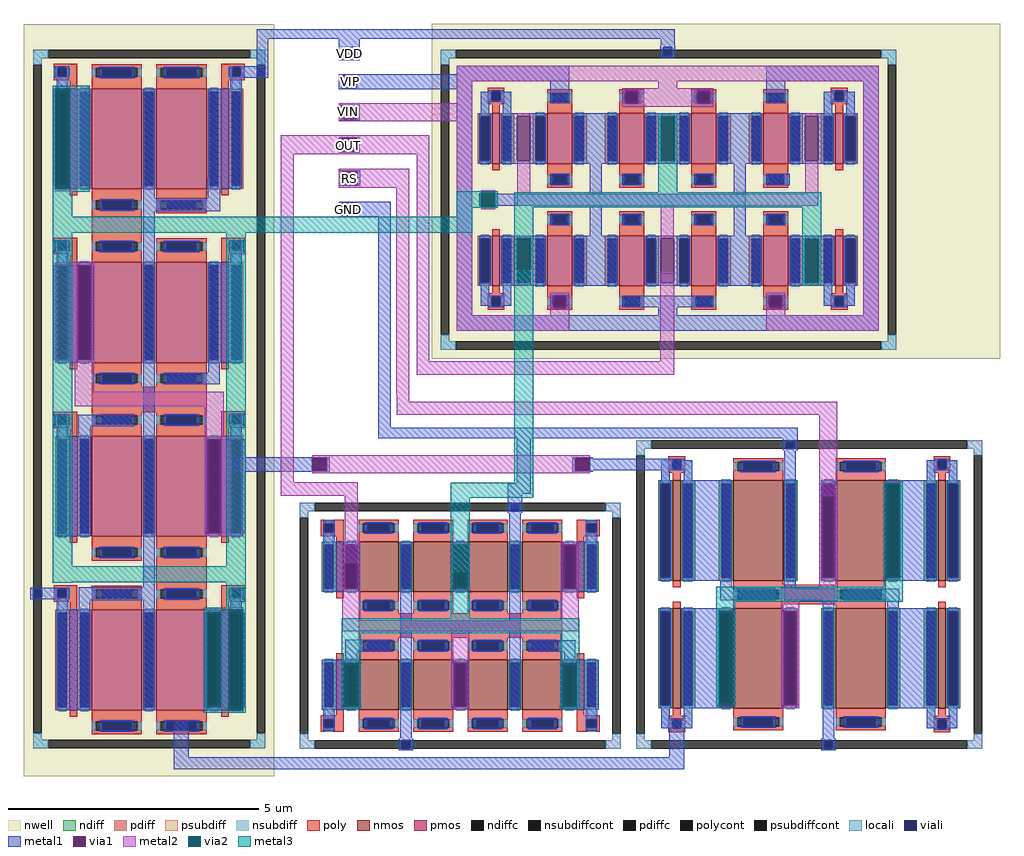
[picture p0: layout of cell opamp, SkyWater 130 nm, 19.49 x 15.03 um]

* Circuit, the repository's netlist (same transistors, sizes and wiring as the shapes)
** sch_path: /home/azrielshelomita/opamp/mag/opamp.sch
.subckt opamp VIN VIP RS OUT GND VDD
*.PININFO VIN:B VIP:B RS:B OUT:B GND:B VDD:B
x1 net2 net3 GND RS nmoscs
x2 net4 OUT GND nmosgn
x3 VDD net1 net3 net2 pmoscs
x4 VDD net1 VIN VIP net4 OUT pmosgn
.ends

* expanding   symbol:  nmoscs.sym # of pins=4
** sym_path: /home/azrielshelomita/opamp/mag/nmoscs.sym
** sch_path: /home/azrielshelomita/opamp/mag/nmoscs.sch
.subckt nmoscs D1 D2 GND RS
*.PININFO GND:B RS:B D2:B D1:B
XM3 D1 D1 GND GND sky130_fd_pr__nfet_01v8 L=1 W=2 nf=1 m=2
XM4 D2 D1 RS GND sky130_fd_pr__nfet_01v8 L=1 W=2 nf=1 m=2
XM1 D1 D1 D1 GND sky130_fd_pr__nfet_01v8 L=0.15 W=2 nf=1 m=2
XM2 D2 D2 D2 GND sky130_fd_pr__nfet_01v8 L=0.15 W=2 nf=1 m=2
.ends


* expanding   symbol:  nmosgn.sym # of pins=3
** sym_path: /home/azrielshelomita/opamp/mag/nmosgn.sym
** sch_path: /home/azrielshelomita/opamp/mag/nmosgn.sch
.subckt nmosgn D6 OUT GND
*.PININFO GND:B D6:B OUT:O
XM8 D6 D6 GND GND sky130_fd_pr__nfet_01v8 L=0.8 W=1 nf=1 m=4
XM9 OUT D6 GND GND sky130_fd_pr__nfet_01v8 L=0.8 W=1 nf=1 m=4
XM1 D6 D6 D6 GND sky130_fd_pr__nfet_01v8 L=0.15 W=1 nf=1 m=2
XM2 OUT OUT OUT GND sky130_fd_pr__nfet_01v8 L=0.15 W=1 nf=1 m=2
.ends


* expanding   symbol:  pmoscs.sym # of pins=4
** sym_path: /home/azrielshelomita/opamp/mag/pmoscs.sym
** sch_path: /home/azrielshelomita/opamp/mag/pmoscs.sch
.subckt pmoscs VDD D5 D2 D1
*.PININFO D1:B D2:B D5:B VDD:B
XM1 D1 D2 VDD VDD sky130_fd_pr__pfet_01v8 L=1 W=2 nf=1 m=2
XM2 D2 D2 VDD VDD sky130_fd_pr__pfet_01v8 L=1 W=2 nf=1 m=2
XM5 D5 D2 VDD VDD sky130_fd_pr__pfet_01v8 L=1 W=2 nf=1 m=2
XM3 VDD VDD VDD VDD sky130_fd_pr__pfet_01v8 L=1 W=2 nf=1 m=2
XM4 VDD VDD VDD VDD sky130_fd_pr__pfet_01v8 L=0.15 W=2 nf=1 m=2
XM6 D2 D2 D2 VDD sky130_fd_pr__pfet_01v8 L=0.15 W=2 nf=1 m=2
XM7 D1 D1 D1 VDD sky130_fd_pr__pfet_01v8 L=0.15 W=2 nf=1 m=2
XM8 D5 D5 D5 VDD sky130_fd_pr__pfet_01v8 L=0.15 W=2 nf=1 m=2
.ends


* expanding   symbol:  pmosgn.sym # of pins=6
** sym_path: /home/azrielshelomita/opamp/mag/pmosgn.sym
** sch_path: /home/azrielshelomita/opamp/mag/pmosgn.sch
.subckt pmosgn VDD D5 VIN VIP D6 OUT
*.PININFO VIN:I VIP:I OUT:O VDD:B D5:B D6:B
XM6 D6 VIN D5 VDD sky130_fd_pr__pfet_01v8 L=0.5 W=1 nf=1 m=4
XM7 OUT VIP D5 VDD sky130_fd_pr__pfet_01v8 L=0.5 W=1 nf=1 m=4
XM1 D6 D6 D6 VDD sky130_fd_pr__pfet_01v8 L=0.15 W=1 nf=1 m=2
XM2 OUT OUT OUT VDD sky130_fd_pr__pfet_01v8 L=0.15 W=1 nf=1 m=2
.ends

.end

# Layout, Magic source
magic
tech sky130A
magscale 1 2
<< nwell >>
rect -1962 -506 -962 2498
rect -334 1162 1936 2499
<< viali >>
rect -692 2359 -634 2405
rect 592 2371 626 2405
rect -693 2243 -634 2291
rect -693 2120 -634 2169
rect -693 1990 -633 2040
rect -692 1858 -632 1908
rect -693 1735 -634 1783
rect -810 716 -752 762
rect 239 716 297 762
<< metal1 >>
rect -1032 2439 637 2477
rect -1032 2283 -986 2439
rect -704 2405 -622 2439
rect 582 2411 637 2439
rect -704 2359 -692 2405
rect -634 2359 -622 2405
rect 580 2405 638 2411
rect 580 2371 592 2405
rect 626 2371 638 2405
rect 580 2365 638 2371
rect -704 2353 -622 2359
rect -705 2291 -197 2297
rect -705 2243 -693 2291
rect -634 2243 -197 2291
rect -705 2237 -197 2243
rect -705 2171 -622 2175
rect -705 2119 -693 2171
rect -634 2119 -622 2171
rect -705 2114 -622 2119
rect -705 2043 -621 2046
rect -705 1987 -694 2043
rect -633 1987 -621 2043
rect -705 1984 -621 1987
rect -704 1911 -620 1914
rect -704 1855 -692 1911
rect -632 1855 -620 1911
rect -704 1852 -620 1855
rect -705 1783 -497 1789
rect -705 1735 -693 1783
rect -634 1735 -497 1783
rect -144 1771 -134 1823
rect -82 1820 -72 1823
rect -82 1773 345 1820
rect -82 1771 -72 1773
rect -705 1729 -497 1735
rect -547 1374 -497 1729
rect -548 885 -497 1374
rect -548 843 1128 885
rect -1145 765 -740 768
rect -1145 713 -810 765
rect -752 713 -740 765
rect -1145 710 -740 713
rect 5 664 62 843
rect 1069 827 1128 843
rect 227 765 309 768
rect 227 713 239 765
rect 297 761 309 765
rect 297 715 668 761
rect 297 713 309 715
rect 227 710 309 713
rect -30 623 62 664
rect -30 560 27 623
rect -1363 -430 -1304 -283
rect 615 -430 674 -280
rect -1363 -479 674 -430
<< via1 >>
rect -693 2169 -634 2171
rect -693 2120 -634 2169
rect -693 2119 -634 2120
rect -694 2040 -633 2043
rect -694 1990 -693 2040
rect -693 1990 -633 2040
rect -694 1987 -633 1990
rect -692 1908 -632 1911
rect -692 1858 -632 1908
rect -692 1855 -632 1858
rect -134 1771 -82 1823
rect -810 762 -752 765
rect -810 716 -752 762
rect -810 713 -752 716
rect 239 762 297 765
rect 239 716 297 762
rect 239 713 297 716
<< metal2 >>
rect -705 2171 -187 2181
rect -705 2119 -693 2171
rect -634 2119 -187 2171
rect -705 2109 -187 2119
rect -936 2043 -343 2053
rect -936 1987 -694 2043
rect -633 1987 -343 2043
rect -936 1977 -343 1987
rect -936 668 -885 1977
rect -704 1911 -423 1921
rect -704 1855 -692 1911
rect -632 1855 -423 1911
rect -704 1845 -423 1855
rect -475 1017 -423 1845
rect -394 1151 -343 1977
rect -136 1825 -80 1835
rect -136 1759 -80 1769
rect 580 1451 634 1505
rect 580 1151 635 1451
rect -394 1098 635 1151
rect -474 989 -423 1017
rect -474 938 1286 989
rect 1061 937 1286 938
rect -810 765 297 775
rect -752 713 239 765
rect -810 703 297 713
rect -936 615 -629 668
rect -680 347 -629 615
rect 1214 612 1286 937
<< via2 >>
rect -136 1823 -80 1825
rect -136 1771 -134 1823
rect -134 1771 -82 1823
rect -82 1771 -80 1823
rect -136 1769 -80 1771
<< metal3 >>
rect -234 1825 -70 1830
rect -234 1769 -136 1825
rect -80 1769 -70 1825
rect -234 1764 -70 1769
rect -234 1728 -172 1764
rect -1153 1664 -172 1728
rect -4 667 72 1516
rect -257 607 72 667
rect -257 306 -181 607
use nmoscs  nmoscs_0
transform 1 0 812 0 1 187
box -328 -589 1054 655
use nmosgn  nmosgn_0
transform 1 0 -742 0 1 348
box -118 -750 1164 244
use pmoscs  pmoscs_0
transform 1 0 -1785 0 1 -342
box -177 -90 823 2773
use pmosgn  pmosgn_0
transform 1 0 -310 0 1 2291
box -24 -1129 1868 140
<< labels >>
flabel viali -661 2380 -661 2380 0 FreeSans 480 0 0 0 VDD
port 0 nsew
flabel viali -660 2269 -660 2269 0 FreeSans 480 0 0 0 VIP
port 1 nsew
flabel via1 -665 2147 -665 2147 0 FreeSans 480 0 0 0 VIN
port 2 nsew
flabel via1 -665 2012 -665 2012 0 FreeSans 480 0 0 0 OUT
port 3 nsew
flabel via1 -663 1883 -663 1883 0 FreeSans 480 0 0 0 RS
port 4 nsew
flabel viali -664 1756 -664 1756 0 FreeSans 480 0 0 0 GND
port 5 nsew
<< end >>

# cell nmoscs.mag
magic
tech sky130A
magscale 1 2
<< psubdiff >>
rect -328 615 -268 649
rect 993 615 1054 649
rect -328 589 -294 615
rect 1020 589 1054 615
rect -328 -549 -294 -523
rect 1020 -549 1054 -523
rect -328 -583 -268 -549
rect 993 -583 1054 -549
<< psubdiffcont >>
rect -268 615 993 649
rect -328 -523 -294 589
rect 1020 -523 1054 589
rect -268 -583 993 -549
<< poly >>
rect -200 568 -134 584
rect -200 534 -184 568
rect -150 534 -134 568
rect -200 518 -134 534
rect 860 568 926 584
rect 860 534 876 568
rect 910 534 926 568
rect 860 518 926 534
rect -182 514 -152 518
rect 878 514 908 518
rect 258 -6 468 72
rect -182 -452 -152 -448
rect 878 -452 908 -448
rect -200 -468 -134 -452
rect -200 -502 -184 -468
rect -150 -502 -134 -468
rect -200 -518 -134 -502
rect 860 -468 926 -452
rect 860 -502 876 -468
rect 910 -502 926 -468
rect 860 -518 926 -502
<< polycont >>
rect -184 534 -150 568
rect 876 534 910 568
rect -184 -502 -150 -468
rect 876 -502 910 -468
<< locali >>
rect -328 615 -268 649
rect 993 615 1054 649
rect -328 589 -294 615
rect 1020 589 1054 615
rect -228 534 -184 568
rect -150 534 -106 568
rect -228 488 -194 534
rect -140 487 -106 534
rect 832 534 876 568
rect 910 534 954 568
rect 832 491 866 534
rect 920 491 954 534
rect -228 -468 -194 -422
rect -140 -468 -106 -422
rect -228 -502 -184 -468
rect -150 -502 -106 -468
rect 832 -468 866 -422
rect 920 -468 954 -422
rect 832 -502 876 -468
rect 910 -502 954 -468
rect -328 -549 -294 -523
rect 1020 -549 1054 -523
rect -328 -583 -268 -549
rect 993 -583 1054 -549
<< viali >>
rect 269 615 304 649
rect -184 534 -150 568
rect 876 534 910 568
rect -184 -502 -150 -468
rect 876 -502 910 -468
rect 422 -583 456 -549
<< metal1 >>
rect 257 649 316 655
rect 257 615 269 649
rect 304 615 316 649
rect 257 609 316 615
rect -196 568 -138 574
rect -228 534 -184 568
rect -150 534 -106 568
rect -228 528 -106 534
rect -228 485 -194 528
rect -140 488 -106 528
rect -146 88 52 488
rect 6 57 52 88
rect 6 10 229 57
rect 263 56 309 609
rect 864 568 922 574
rect 832 534 876 568
rect 910 534 954 568
rect 832 528 954 534
rect 832 488 866 528
rect 920 488 954 528
rect 674 477 872 488
rect 403 100 413 476
rect 465 100 475 476
rect 661 100 671 477
rect 723 100 872 477
rect 674 88 872 100
rect 263 9 462 56
rect 497 10 721 56
rect -147 -33 51 -22
rect -147 -410 2 -33
rect 54 -410 64 -33
rect 251 -410 261 -34
rect 313 -410 323 -34
rect -228 -462 -194 -420
rect -147 -422 51 -410
rect -140 -462 -106 -422
rect -228 -468 -106 -462
rect -228 -502 -184 -468
rect -150 -502 -106 -468
rect -196 -508 -138 -502
rect 416 -543 462 9
rect 674 -22 720 10
rect 674 -422 872 -22
rect 832 -462 866 -422
rect 920 -462 954 -419
rect 832 -468 954 -462
rect 832 -502 876 -468
rect 910 -502 954 -468
rect 864 -508 922 -502
rect 410 -549 468 -543
rect 410 -583 422 -549
rect 456 -583 468 -549
rect 410 -589 468 -583
<< via1 >>
rect 413 100 465 476
rect 671 100 723 477
rect 2 -410 54 -33
rect 261 -410 313 -34
<< metal2 >>
rect 403 476 475 488
rect 403 100 413 476
rect 465 100 475 476
rect 403 60 475 100
rect 669 477 725 487
rect 669 90 725 100
rect 251 6 475 60
rect 0 -33 56 -23
rect 0 -420 56 -410
rect 251 -34 323 6
rect 251 -410 261 -34
rect 313 -410 323 -34
rect 251 -422 323 -410
<< via2 >>
rect 669 100 671 477
rect 671 100 723 477
rect 723 100 725 477
rect 0 -410 2 -33
rect 2 -410 54 -33
rect 54 -410 56 -33
<< metal3 >>
rect 659 477 735 483
rect 659 100 669 477
rect 725 100 735 477
rect 659 64 735 100
rect -10 3 735 64
rect -10 -33 66 3
rect -10 -410 0 -33
rect 56 -410 66 -33
rect -10 -415 66 -410
use sky130_fd_pr__nfet_01v8_46AAJJ  sky130_fd_pr__nfet_01v8_46AAJJ_0
transform 1 0 568 0 1 -222
box -158 -288 158 288
use sky130_fd_pr__nfet_01v8_46AAJJ  sky130_fd_pr__nfet_01v8_46AAJJ_1
transform 1 0 568 0 1 288
box -158 -288 158 288
use sky130_fd_pr__nfet_01v8_46AAJJ  sky130_fd_pr__nfet_01v8_46AAJJ_2
transform 1 0 158 0 1 -222
box -158 -288 158 288
use sky130_fd_pr__nfet_01v8_46AAJJ  sky130_fd_pr__nfet_01v8_46AAJJ_3
transform 1 0 158 0 1 288
box -158 -288 158 288
use sky130_fd_pr__nfet_01v8_TC9PLT  sky130_fd_pr__nfet_01v8_TC9PLT_0
transform 1 0 -167 0 1 288
box -73 -226 73 226
use sky130_fd_pr__nfet_01v8_TC9PLT  sky130_fd_pr__nfet_01v8_TC9PLT_1
transform 1 0 893 0 1 288
box -73 -226 73 226
use sky130_fd_pr__nfet_01v8_TC9PLT  sky130_fd_pr__nfet_01v8_TC9PLT_2
transform 1 0 893 0 1 -222
box -73 -226 73 226
use sky130_fd_pr__nfet_01v8_TC9PLT  sky130_fd_pr__nfet_01v8_TC9PLT_3
transform 1 0 -167 0 1 -222
box -73 -226 73 226
<< labels >>
flabel via1 440 286 440 286 0 FreeSans 480 0 0 0 RS
port 2 nsew
flabel metal1 439 -229 439 -229 0 FreeSans 480 0 0 0 GND
port 3 nsew
flabel metal1 774 286 774 286 0 FreeSans 480 0 0 0 D2
port 5 nsew
flabel metal1 770 -232 770 -232 0 FreeSans 480 0 0 0 D1
port 4 nsew
<< end >>

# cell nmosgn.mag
magic
tech sky130A
magscale 1 2
<< psubdiff >>
rect -118 204 -58 238
rect 1104 204 1164 238
rect -118 178 -84 204
rect 1130 178 1164 204
rect -118 -710 -84 -684
rect 1130 -710 1164 -684
rect -118 -744 -58 -710
rect 1104 -744 1164 -710
<< psubdiffcont >>
rect -58 204 1104 238
rect -118 -684 -84 178
rect 1130 -684 1164 178
rect -58 -744 1104 -710
<< poly >>
rect -34 154 58 170
rect -34 120 -18 154
rect 16 120 58 154
rect -34 104 58 120
rect 28 93 58 104
rect 988 154 1080 170
rect 988 120 1030 154
rect 1064 120 1080 154
rect 988 104 1080 120
rect 988 92 1018 104
rect 117 -302 930 -204
rect 28 -610 58 -598
rect -34 -626 58 -610
rect -34 -660 -18 -626
rect 16 -660 58 -626
rect -34 -676 58 -660
rect 988 -610 1018 -598
rect 988 -626 1080 -610
rect 988 -660 1030 -626
rect 1064 -660 1080 -626
rect 988 -676 1080 -660
<< polycont >>
rect -18 120 16 154
rect 1030 120 1064 154
rect -18 -660 16 -626
rect 1030 -660 1064 -626
<< locali >>
rect -118 204 -58 238
rect 1104 204 1164 238
rect -118 178 -84 204
rect 1130 178 1164 204
rect -18 154 16 170
rect -18 74 16 120
rect 1030 154 1064 170
rect 1030 82 1064 120
rect -18 -626 16 -589
rect -18 -676 16 -660
rect 1030 -626 1064 -587
rect 1030 -676 1064 -660
rect -118 -710 -84 -684
rect 1130 -710 1164 -684
rect -118 -744 -58 -710
rect 1104 -744 1164 -710
<< viali >>
rect 724 204 758 238
rect -18 120 16 154
rect 1030 120 1064 154
rect -18 -660 16 -626
rect 1030 -660 1064 -626
rect 288 -744 322 -710
<< metal1 >>
rect 712 238 770 244
rect 712 204 724 238
rect 758 204 770 238
rect 712 198 770 204
rect -24 154 22 166
rect -24 120 -18 154
rect 16 120 22 154
rect -24 82 22 120
rect -24 70 114 82
rect -24 -106 61 70
rect 113 -106 123 70
rect -24 -118 114 -106
rect 282 -231 328 82
rect 487 -106 497 70
rect 549 -106 559 70
rect 718 -231 764 198
rect 1024 154 1070 166
rect 1024 120 1030 154
rect 1064 120 1070 154
rect 1024 82 1070 120
rect 931 70 1070 82
rect 923 -106 933 70
rect 985 -106 1070 70
rect 931 -118 1070 -106
rect 282 -275 764 -231
rect 64 -356 253 -310
rect 64 -388 110 -356
rect -30 -400 116 -388
rect -30 -576 61 -400
rect 113 -576 123 -400
rect -30 -588 116 -576
rect -24 -626 22 -588
rect -24 -660 -18 -626
rect 16 -660 22 -626
rect -24 -672 22 -660
rect 282 -704 328 -275
rect 487 -576 497 -400
rect 549 -576 559 -400
rect 718 -588 764 -275
rect 793 -356 982 -311
rect 937 -388 982 -356
rect 930 -400 1076 -388
rect 923 -576 933 -400
rect 985 -576 1076 -400
rect 930 -588 1076 -576
rect 1024 -626 1070 -588
rect 1024 -660 1030 -626
rect 1064 -660 1070 -626
rect 1024 -672 1070 -660
rect 276 -710 334 -704
rect 276 -744 288 -710
rect 322 -744 334 -710
rect 276 -750 334 -744
<< via1 >>
rect 61 -106 113 70
rect 497 -106 549 70
rect 933 -106 985 70
rect 61 -576 113 -400
rect 497 -576 549 -400
rect 933 -576 985 -400
<< metal2 >>
rect 51 70 123 82
rect 51 -106 61 70
rect 113 -106 123 70
rect 51 -231 123 -106
rect 495 70 551 80
rect 495 -116 551 -106
rect 924 70 996 82
rect 924 -106 933 70
rect 985 -106 996 70
rect 924 -231 996 -106
rect 51 -275 996 -231
rect 59 -400 115 -390
rect 59 -586 115 -576
rect 487 -400 559 -275
rect 487 -576 497 -400
rect 549 -576 559 -400
rect 487 -588 559 -576
rect 931 -400 987 -390
rect 931 -586 987 -576
<< via2 >>
rect 495 -106 497 70
rect 497 -106 549 70
rect 549 -106 551 70
rect 59 -576 61 -400
rect 61 -576 113 -400
rect 113 -576 115 -400
rect 931 -576 933 -400
rect 933 -576 985 -400
rect 985 -576 987 -400
<< metal3 >>
rect 485 70 561 82
rect 485 -106 495 70
rect 551 -106 561 70
rect 485 -224 561 -106
rect 49 -284 997 -224
rect 49 -400 125 -284
rect 49 -576 59 -400
rect 115 -576 125 -400
rect 49 -588 125 -576
rect 921 -400 997 -284
rect 921 -576 931 -400
rect 987 -576 997 -400
rect 921 -588 997 -576
use sky130_fd_pr__nfet_01v8_6H9P4D  sky130_fd_pr__nfet_01v8_6H9P4D_0
transform 1 0 43 0 1 -18
box -73 -126 73 126
use sky130_fd_pr__nfet_01v8_6H9P4D  sky130_fd_pr__nfet_01v8_6H9P4D_1
transform 1 0 1003 0 1 -18
box -73 -126 73 126
use sky130_fd_pr__nfet_01v8_6H9P4D  sky130_fd_pr__nfet_01v8_6H9P4D_2
transform 1 0 1003 0 1 -488
box -73 -126 73 126
use sky130_fd_pr__nfet_01v8_6H9P4D  sky130_fd_pr__nfet_01v8_6H9P4D_3
transform 1 0 43 0 1 -488
box -73 -126 73 126
use sky130_fd_pr__nfet_01v8_DXNGNZ  sky130_fd_pr__nfet_01v8_DXNGNZ_0
transform 1 0 523 0 1 -488
box -465 -188 465 188
use sky130_fd_pr__nfet_01v8_DXNGNZ  sky130_fd_pr__nfet_01v8_DXNGNZ_1
transform 1 0 523 0 1 -18
box -465 -188 465 188
<< labels >>
flabel via1 84 -16 84 -16 0 FreeSans 480 0 0 0 OUT
port 0 nsew
flabel via1 87 -493 87 -493 0 FreeSans 480 0 0 0 D6
port 1 nsew
flabel metal1 306 -494 306 -494 0 FreeSans 480 0 0 0 GND
port 2 nsew
<< end >>

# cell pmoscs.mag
magic
tech sky130A
magscale 1 2
<< nwell >>
rect -177 -90 823 2773
<< nsubdiff >>
rect -141 2703 -81 2737
rect 727 2703 787 2737
rect -141 2677 -107 2703
rect 753 2677 787 2703
rect -141 -19 -107 7
rect 753 -19 787 7
rect -141 -53 -81 -19
rect 727 -53 787 -19
<< nsubdiffcont >>
rect -81 2703 727 2737
rect -141 7 -107 2677
rect 753 7 787 2677
rect -81 -53 727 -19
<< poly >>
rect -58 2665 36 2681
rect -58 2631 -42 2665
rect -8 2631 36 2665
rect -58 2615 36 2631
rect 6 2608 36 2615
rect 610 2665 704 2681
rect 610 2631 654 2665
rect 688 2631 704 2665
rect 610 2615 704 2631
rect 610 2608 640 2615
rect -58 1970 36 1986
rect 94 1984 294 2086
rect -58 1936 -42 1970
rect -8 1936 36 1970
rect -58 1920 36 1936
rect 6 1913 36 1920
rect 610 1971 704 1987
rect 610 1937 654 1971
rect 688 1937 704 1971
rect 610 1921 704 1937
rect 610 1914 640 1921
rect -58 1276 36 1292
rect 94 1290 552 1392
rect -58 1242 -42 1276
rect -8 1242 36 1276
rect -58 1226 36 1242
rect 6 1219 36 1226
rect 610 1277 704 1293
rect 610 1243 654 1277
rect 688 1243 704 1277
rect 610 1227 704 1243
rect 610 1220 640 1227
rect -58 583 36 599
rect 352 596 552 698
rect -58 549 -42 583
rect -8 549 36 583
rect -58 533 36 549
rect 6 526 36 533
rect 610 583 704 599
rect 610 549 654 583
rect 688 549 704 583
rect 610 533 704 549
rect 610 526 640 533
<< polycont >>
rect -42 2631 -8 2665
rect 654 2631 688 2665
rect -42 1936 -8 1970
rect 654 1937 688 1971
rect -42 1242 -8 1276
rect 654 1243 688 1277
rect -42 549 -8 583
rect 654 549 688 583
<< locali >>
rect -141 2703 -81 2737
rect 727 2703 787 2737
rect -141 2677 -107 2703
rect 753 2677 787 2703
rect -58 2631 -42 2665
rect -8 2631 8 2665
rect 638 2631 654 2665
rect 688 2631 704 2665
rect -40 2576 -6 2631
rect 652 2584 686 2631
rect -58 1936 -42 1970
rect -8 1936 8 1970
rect 638 1937 654 1971
rect 688 1937 704 1971
rect -40 1881 -6 1936
rect 652 1884 686 1937
rect -58 1242 -42 1276
rect -8 1242 8 1276
rect 638 1243 654 1277
rect 688 1243 704 1277
rect -40 1186 -6 1242
rect 652 1188 686 1243
rect -58 549 -42 583
rect -8 549 8 583
rect 638 549 654 583
rect 688 549 704 583
rect -40 501 -6 549
rect 652 502 686 549
rect -141 -19 -107 7
rect 753 -19 787 7
rect -141 -53 -81 -19
rect 727 -53 787 -19
<< viali >>
rect -42 2631 -8 2665
rect 654 2631 688 2665
rect 753 2631 787 2665
rect -42 1936 -8 1970
rect 654 1937 688 1971
rect -42 1242 -8 1276
rect 654 1243 688 1277
rect -141 549 -107 583
rect -42 549 -8 583
rect 654 549 688 583
<< metal1 >>
rect -54 2665 4 2671
rect -54 2631 -42 2665
rect -8 2631 4 2665
rect -54 2625 4 2631
rect 642 2665 799 2671
rect 642 2631 654 2665
rect 688 2631 753 2665
rect 787 2631 799 2665
rect 642 2625 799 2631
rect -46 2582 0 2625
rect 646 2582 692 2625
rect -52 2572 86 2582
rect -60 2194 -50 2572
rect 2 2194 86 2572
rect -52 2182 86 2194
rect 300 2144 346 2582
rect 558 2224 692 2582
rect 556 2182 692 2224
rect 556 2144 606 2182
rect 300 2092 606 2144
rect -54 1970 4 1976
rect -54 1936 -42 1970
rect -8 1936 4 1970
rect -54 1930 4 1936
rect -46 1884 0 1930
rect -45 1881 0 1884
rect -58 1500 -48 1876
rect 4 1500 38 1876
rect 92 1500 102 1876
rect -6 1490 44 1500
rect -54 1276 4 1282
rect -54 1242 -42 1276
rect -8 1242 4 1276
rect -54 1236 4 1242
rect -46 1194 0 1236
rect 40 1234 266 1280
rect 40 1194 90 1234
rect -46 794 90 1194
rect 300 590 346 2092
rect 642 1971 700 1977
rect 642 1937 654 1971
rect 688 1937 700 1971
rect 642 1931 700 1937
rect 646 1888 692 1931
rect 558 1488 692 1888
rect 558 1448 604 1488
rect 392 1402 604 1448
rect 642 1277 700 1283
rect 642 1243 654 1277
rect 688 1243 700 1277
rect 642 1237 700 1243
rect 646 1187 692 1237
rect 544 806 554 1182
rect 608 806 644 1182
rect 696 806 706 1182
rect -153 583 4 589
rect -153 549 -141 583
rect -107 549 -42 583
rect -8 549 4 583
rect -153 543 4 549
rect -46 500 0 543
rect 42 538 346 590
rect 642 583 700 589
rect 642 549 654 583
rect 688 549 700 583
rect 642 543 700 549
rect 42 500 88 538
rect -46 100 88 500
rect 300 100 346 538
rect 646 498 692 543
rect 602 490 646 492
rect 544 112 554 490
rect 606 488 646 490
rect 606 112 643 488
rect 695 112 705 488
rect 602 108 646 112
<< via1 >>
rect -50 2194 2 2572
rect -48 1500 4 1876
rect 38 1500 92 1876
rect 554 806 608 1182
rect 644 806 696 1182
rect 554 112 606 490
rect 643 112 695 488
<< metal2 >>
rect -52 2582 6 2592
rect -62 2182 -52 2582
rect 6 2182 86 2582
rect -52 2172 6 2182
rect 38 1888 104 1890
rect -52 1876 104 1888
rect -52 1500 -48 1876
rect 4 1500 38 1876
rect 92 1500 104 1876
rect -52 1488 104 1500
rect 26 1372 102 1488
rect 26 1314 620 1372
rect 544 1196 620 1314
rect 544 1182 698 1196
rect 544 806 554 1182
rect 608 806 644 1182
rect 696 806 698 1182
rect 544 794 698 806
rect 640 500 698 510
rect 552 492 608 500
rect 552 490 640 492
rect 608 112 640 490
rect 552 108 640 112
rect 552 102 608 108
rect 640 90 698 100
<< via2 >>
rect -52 2572 6 2582
rect -52 2194 -50 2572
rect -50 2194 2 2572
rect 2 2194 6 2572
rect -52 2182 6 2194
rect 552 112 554 490
rect 554 112 606 490
rect 606 112 608 490
rect 640 488 698 500
rect 640 112 643 488
rect 643 112 695 488
rect 695 112 698 488
rect 640 100 698 112
<< metal3 >>
rect -62 2582 86 2594
rect -62 2182 -52 2582
rect 6 2182 86 2582
rect -62 2170 86 2182
rect -62 2070 16 2170
rect -62 2006 708 2070
rect -62 674 16 2006
rect 630 1659 708 2006
rect 630 674 709 1659
rect -62 610 709 674
rect -62 609 16 610
rect 630 508 709 610
rect 540 500 709 508
rect 540 490 640 500
rect 540 112 552 490
rect 608 112 640 490
rect 540 100 640 112
rect 698 100 709 500
rect 540 90 709 100
rect 631 89 709 90
use sky130_fd_pr__pfet_01v8_2ZH9AN  sky130_fd_pr__pfet_01v8_2ZH9AN_0
transform 1 0 625 0 1 1688
box -109 -262 109 262
use sky130_fd_pr__pfet_01v8_2ZH9AN  sky130_fd_pr__pfet_01v8_2ZH9AN_1
transform 1 0 21 0 1 300
box -109 -262 109 262
use sky130_fd_pr__pfet_01v8_2ZH9AN  sky130_fd_pr__pfet_01v8_2ZH9AN_2
transform 1 0 625 0 1 300
box -109 -262 109 262
use sky130_fd_pr__pfet_01v8_2ZH9AN  sky130_fd_pr__pfet_01v8_2ZH9AN_3
transform 1 0 21 0 1 994
box -109 -262 109 262
use sky130_fd_pr__pfet_01v8_2ZH9AN  sky130_fd_pr__pfet_01v8_2ZH9AN_4
transform 1 0 625 0 1 994
box -109 -262 109 262
use sky130_fd_pr__pfet_01v8_2ZH9AN  sky130_fd_pr__pfet_01v8_2ZH9AN_5
transform 1 0 21 0 1 1688
box -109 -262 109 262
use sky130_fd_pr__pfet_01v8_2ZH9AN  sky130_fd_pr__pfet_01v8_2ZH9AN_6
transform 1 0 625 0 1 2382
box -109 -262 109 262
use sky130_fd_pr__pfet_01v8_2ZH9AN  sky130_fd_pr__pfet_01v8_2ZH9AN_7
transform 1 0 21 0 1 2382
box -109 -262 109 262
use sky130_fd_pr__pfet_01v8_SDE6B7  sky130_fd_pr__pfet_01v8_SDE6B7_0
transform 1 0 323 0 1 2382
box -323 -300 323 300
use sky130_fd_pr__pfet_01v8_SDE6B7  sky130_fd_pr__pfet_01v8_SDE6B7_1
transform 1 0 323 0 1 1688
box -323 -300 323 300
use sky130_fd_pr__pfet_01v8_SDE6B7  sky130_fd_pr__pfet_01v8_SDE6B7_2
transform 1 0 323 0 1 994
box -323 -300 323 300
use sky130_fd_pr__pfet_01v8_SDE6B7  sky130_fd_pr__pfet_01v8_SDE6B7_3
transform 1 0 323 0 1 300
box -323 -300 323 300
<< labels >>
flabel metal1 722 2641 722 2641 0 FreeSans 160 0 0 0 VDD
port 0 nsew
flabel metal3 524 2035 530 2035 0 FreeSans 160 0 0 0 D5
port 1 nsew
flabel metal2 570 1327 570 1327 0 FreeSans 160 0 0 0 D1
port 2 nsew
flabel metal1 566 1436 566 1436 0 FreeSans 160 0 0 0 D2
port 3 nsew
<< end >>

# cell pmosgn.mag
magic
tech sky130A
magscale 1 2
<< nwell >>
rect -24 -1129 1868 140
<< nsubdiff >>
rect 12 70 72 104
rect 1772 70 1832 104
rect 12 44 46 70
rect 1798 44 1832 70
rect 12 -1059 46 -1033
rect 1798 -1059 1832 -1033
rect 12 -1093 72 -1059
rect 1772 -1093 1832 -1059
<< nsubdiffcont >>
rect 72 70 1772 104
rect 12 -1033 46 44
rect 1798 -1033 1832 44
rect 72 -1093 1772 -1059
<< poly >>
rect 201 -63 267 -47
rect 201 -97 217 -63
rect 251 -97 267 -63
rect 201 -113 267 -97
rect 1571 -64 1637 -48
rect 1571 -98 1587 -64
rect 1621 -98 1637 -64
rect 218 -136 248 -113
rect 1571 -114 1637 -98
rect 1589 -130 1619 -114
rect 218 -869 248 -854
rect 1589 -869 1619 -845
rect 200 -885 266 -869
rect 200 -919 216 -885
rect 250 -919 266 -885
rect 200 -935 266 -919
rect 1571 -885 1637 -869
rect 1571 -919 1587 -885
rect 1621 -919 1637 -885
rect 1571 -935 1637 -919
<< polycont >>
rect 217 -97 251 -63
rect 1587 -98 1621 -64
rect 216 -919 250 -885
rect 1587 -919 1621 -885
<< locali >>
rect 12 70 72 104
rect 1772 70 1832 104
rect 12 44 46 70
rect 1798 44 1832 70
rect 172 -97 217 -63
rect 251 -97 294 -63
rect 172 -149 206 -97
rect 260 -149 294 -97
rect 1543 -98 1587 -64
rect 1621 -98 1665 -64
rect 1543 -149 1577 -98
rect 1631 -149 1665 -98
rect 172 -885 206 -839
rect 260 -885 294 -839
rect 172 -919 216 -885
rect 250 -919 294 -885
rect 1543 -885 1577 -832
rect 1631 -885 1665 -832
rect 1543 -919 1587 -885
rect 1621 -919 1665 -885
rect 12 -1059 46 -1033
rect 1798 -1059 1832 -1033
rect 12 -1093 72 -1059
rect 1772 -1093 1832 -1059
<< viali >>
rect 217 -97 251 -63
rect 1587 -98 1621 -64
rect 216 -919 250 -885
rect 1587 -919 1621 -885
<< metal1 >>
rect 76 -22 525 40
rect 76 -956 138 -22
rect 205 -63 263 -57
rect 172 -97 217 -63
rect 251 -97 294 -63
rect 172 -103 294 -97
rect 172 -157 206 -103
rect 260 -150 294 -103
rect 449 -109 525 -22
rect 1313 -22 1761 40
rect 739 -112 749 -60
rect 801 -112 811 -60
rect 1027 -112 1037 -60
rect 1089 -112 1099 -60
rect 1313 -109 1389 -22
rect 1575 -64 1633 -58
rect 1543 -98 1587 -64
rect 1621 -98 1665 -64
rect 1543 -104 1665 -98
rect 1543 -150 1577 -104
rect 254 -162 385 -150
rect 254 -338 317 -162
rect 369 -338 385 -162
rect 254 -350 385 -338
rect 543 -350 719 -150
rect 831 -162 1007 -150
rect 831 -338 893 -162
rect 945 -338 1007 -162
rect 831 -350 1007 -338
rect 1119 -350 1295 -150
rect 1407 -162 1583 -150
rect 1631 -152 1665 -104
rect 1407 -332 1469 -162
rect 1452 -338 1469 -332
rect 1521 -338 1583 -162
rect 1452 -350 1583 -338
rect 608 -471 655 -350
rect 1183 -471 1230 -350
rect 1313 -437 1406 -391
rect 608 -518 1230 -471
rect 608 -638 655 -518
rect 1183 -638 1230 -518
rect 254 -650 430 -638
rect 254 -826 317 -650
rect 369 -826 430 -650
rect 172 -879 206 -832
rect 254 -838 430 -826
rect 543 -838 719 -638
rect 877 -649 961 -638
rect 877 -826 892 -649
rect 944 -826 961 -649
rect 877 -838 961 -826
rect 1119 -838 1295 -638
rect 1408 -650 1584 -638
rect 1408 -826 1469 -650
rect 1521 -826 1584 -650
rect 1408 -838 1584 -826
rect 260 -879 294 -838
rect 172 -885 294 -879
rect 172 -919 216 -885
rect 250 -919 294 -885
rect 204 -925 262 -919
rect 451 -928 461 -876
rect 513 -928 523 -876
rect 737 -925 1101 -879
rect 881 -956 957 -925
rect 1315 -928 1325 -876
rect 1377 -928 1387 -876
rect 1543 -879 1577 -838
rect 1631 -879 1665 -832
rect 1543 -885 1665 -879
rect 1543 -919 1587 -885
rect 1621 -919 1665 -885
rect 1575 -925 1633 -919
rect 1699 -956 1761 -22
rect 76 -1018 1761 -956
<< via1 >>
rect 749 -112 801 -60
rect 1037 -112 1089 -60
rect 317 -338 369 -162
rect 893 -338 945 -162
rect 1469 -338 1521 -162
rect 317 -826 369 -650
rect 892 -826 944 -649
rect 1469 -826 1521 -650
rect 461 -928 513 -876
rect 1325 -928 1377 -876
<< metal2 >>
rect 76 -22 1761 40
rect 76 -956 138 -22
rect 881 -50 957 -22
rect 738 -60 1101 -50
rect 738 -112 749 -60
rect 801 -112 1037 -60
rect 1089 -112 1101 -60
rect 738 -123 1101 -112
rect 317 -162 369 -150
rect 317 -471 369 -338
rect 891 -161 947 -151
rect 891 -348 947 -338
rect 1469 -162 1521 -149
rect 1469 -471 1521 -338
rect 317 -518 1521 -471
rect 315 -649 371 -639
rect 315 -836 371 -826
rect 892 -649 944 -518
rect 892 -838 944 -826
rect 1467 -650 1523 -640
rect 1467 -836 1523 -826
rect 449 -876 525 -866
rect 449 -928 461 -876
rect 513 -928 525 -876
rect 449 -956 525 -928
rect 76 -1018 525 -956
rect 1313 -876 1389 -866
rect 1313 -928 1325 -876
rect 1377 -928 1389 -876
rect 1313 -956 1389 -928
rect 1699 -956 1761 -22
rect 1313 -1018 1761 -956
<< via2 >>
rect 891 -162 947 -161
rect 891 -338 893 -162
rect 893 -338 945 -162
rect 945 -338 947 -162
rect 315 -650 371 -649
rect 315 -826 317 -650
rect 317 -826 369 -650
rect 369 -826 371 -650
rect 1467 -826 1469 -650
rect 1469 -826 1521 -650
rect 1521 -826 1523 -650
<< metal3 >>
rect 881 -161 957 -150
rect 881 -338 891 -161
rect 947 -338 957 -161
rect 881 -464 957 -338
rect 305 -524 1533 -464
rect 305 -649 381 -524
rect 305 -826 315 -649
rect 371 -826 381 -649
rect 305 -838 381 -826
rect 1457 -650 1533 -524
rect 1457 -826 1467 -650
rect 1523 -826 1533 -650
rect 1457 -838 1533 -826
use sky130_fd_pr__pfet_01v8_2XUZHN  sky130_fd_pr__pfet_01v8_2XUZHN_0
transform 1 0 233 0 1 -738
box -109 -162 109 162
use sky130_fd_pr__pfet_01v8_2XUZHN  sky130_fd_pr__pfet_01v8_2XUZHN_1
transform 1 0 233 0 1 -250
box -109 -162 109 162
use sky130_fd_pr__pfet_01v8_2XUZHN  sky130_fd_pr__pfet_01v8_2XUZHN_2
transform 1 0 1604 0 1 -250
box -109 -162 109 162
use sky130_fd_pr__pfet_01v8_2XUZHN  sky130_fd_pr__pfet_01v8_2XUZHN_3
transform 1 0 1604 0 1 -738
box -109 -162 109 162
use sky130_fd_pr__pfet_01v8_VGK97L  sky130_fd_pr__pfet_01v8_VGK97L_0
transform 1 0 775 0 1 -250
box -144 -200 144 200
use sky130_fd_pr__pfet_01v8_VGK97L  sky130_fd_pr__pfet_01v8_VGK97L_1
transform 1 0 1351 0 1 -738
box -144 -200 144 200
use sky130_fd_pr__pfet_01v8_VGK97L  sky130_fd_pr__pfet_01v8_VGK97L_2
transform 1 0 1063 0 1 -250
box -144 -200 144 200
use sky130_fd_pr__pfet_01v8_VGK97L  sky130_fd_pr__pfet_01v8_VGK97L_3
transform 1 0 1351 0 1 -250
box -144 -200 144 200
use sky130_fd_pr__pfet_01v8_VGK97L  sky130_fd_pr__pfet_01v8_VGK97L_4
transform 1 0 487 0 1 -250
box -144 -200 144 200
use sky130_fd_pr__pfet_01v8_VGK97L  sky130_fd_pr__pfet_01v8_VGK97L_5
transform 1 0 487 0 1 -738
box -144 -200 144 200
use sky130_fd_pr__pfet_01v8_VGK97L  sky130_fd_pr__pfet_01v8_VGK97L_6
transform 1 0 775 0 1 -738
box -144 -200 144 200
use sky130_fd_pr__pfet_01v8_VGK97L  sky130_fd_pr__pfet_01v8_VGK97L_7
transform 1 0 1063 0 1 -738
box -144 -200 144 200
<< labels >>
flabel via2 338 -742 338 -742 0 FreeSans 480 0 0 0 D6
port 0 nsew
flabel via1 341 -248 341 -248 0 FreeSans 480 0 0 0 OUT
port 1 nsew
flabel metal2 910 12 910 12 0 FreeSans 480 0 0 0 VIN
port 2 nsew
flabel metal1 918 -976 918 -976 0 FreeSans 480 0 0 0 VIP
port 3 nsew
flabel nsubdiffcont 905 91 905 91 0 FreeSans 480 0 0 0 VDD
port 4 nsew
flabel metal1 630 -260 630 -260 0 FreeSans 480 0 0 0 D5
port 5 nsew
<< end >>

# cell sky130_fd_pr__pfet_01v8_2XUZHN: kit device sky130_fd_pr__pfet_01v8, w 1 l 0.15 m 1 nf 1 diffcov 100 polycov 100 guard 0 glc 1 grc 1 gtc 1 gbc 1 tbcov 100 rlcov 100 topc 0 botc 0 poverlap 0 doverlap 1 lmin 0.15 wmin 0.42 compatible {sky130_fd_pr__pfet_01v8 sky130_fd_pr__pfet_01v8_lvt sky130_fd_pr__pfet_01v8_hvt sky130_fd_pr__pfet_g5v0d10v5} full_metal 1 viasrc 100 viadrn 100 viagate 100 viagb 0 viagr 0 viagl 0 viagt 0

# cell sky130_fd_pr__pfet_01v8_VGK97L: kit device sky130_fd_pr__pfet_01v8, w 1 l 0.5 m 1 nf 1 diffcov 100 polycov 100 guard 0 glc 1 grc 1 gtc 1 gbc 1 tbcov 100 rlcov 100 topc 1 botc 1 poverlap 0 doverlap 1 lmin 0.15 wmin 0.42 compatible {sky130_fd_pr__pfet_01v8 sky130_fd_pr__pfet_01v8_lvt sky130_fd_pr__pfet_01v8_hvt sky130_fd_pr__pfet_g5v0d10v5} full_metal 1 viasrc 100 viadrn 100 viagate 75 viagb 0 viagr 0 viagl 0 viagt 0

# cell sky130_fd_pr__pfet_01v8_2ZH9AN: kit device sky130_fd_pr__pfet_01v8, w 2 l 0.15 m 1 nf 1 diffcov 100 polycov 100 guard 0 glc 1 grc 1 gtc 1 gbc 1 tbcov 100 rlcov 100 topc 0 botc 0 poverlap 0 doverlap 1 lmin 0.15 wmin 0.42 compatible {sky130_fd_pr__pfet_01v8 sky130_fd_pr__pfet_01v8_lvt sky130_fd_pr__pfet_01v8_hvt sky130_fd_pr__pfet_g5v0d10v5} full_metal 1 viasrc 100 viadrn 100 viagate 100 viagb 0 viagr 0 viagl 0 viagt 0

# cell sky130_fd_pr__pfet_01v8_SDE6B7: kit device sky130_fd_pr__pfet_01v8, w 2 l 1 m 1 nf 2 diffcov 100 polycov 100 guard 0 glc 1 grc 1 gtc 1 gbc 1 tbcov 100 rlcov 100 topc 1 botc 1 poverlap 0 doverlap 1 lmin 0.15 wmin 0.42 compatible {sky130_fd_pr__pfet_01v8 sky130_fd_pr__pfet_01v8_lvt sky130_fd_pr__pfet_01v8_hvt sky130_fd_pr__pfet_g5v0d10v5} full_metal 1 viasrc 100 viadrn 100 viagate 70 viagb 0 viagr 0 viagl 0 viagt 0

# cell sky130_fd_pr__nfet_01v8_6H9P4D: kit device sky130_fd_pr__nfet_01v8, w 1 l 0.150 m 1 nf 1 diffcov 100 polycov 100 guard 0 glc 1 grc 1 gtc 1 gbc 1 tbcov 100 rlcov 100 topc 0 botc 0 poverlap 0 doverlap 1 lmin 0.15 wmin 0.42 compatible {sky130_fd_pr__nfet_01v8 sky130_fd_pr__nfet_01v8_lvt sky130_fd_bs_flash__special_sonosfet_star sky130_fd_pr__nfet_g5v0d10v5 sky130_fd_pr__nfet_05v0_nvt sky130_fd_pr__nfet_03v3_nvt} full_metal 1 viasrc 100 viadrn 100 viagate 100 viagb 0 viagr 0 viagl 0 viagt 0

# cell sky130_fd_pr__nfet_01v8_DXNGNZ: kit device sky130_fd_pr__nfet_01v8, w 1 l 0.8 m 1 nf 4 diffcov 100 polycov 100 guard 0 glc 1 grc 1 gtc 1 gbc 1 tbcov 100 rlcov 100 topc 1 botc 1 poverlap 0 doverlap 1 lmin 0.15 wmin 0.42 compatible {sky130_fd_pr__nfet_01v8 sky130_fd_pr__nfet_01v8_lvt sky130_fd_bs_flash__special_sonosfet_star sky130_fd_pr__nfet_g5v0d10v5 sky130_fd_pr__nfet_05v0_nvt sky130_fd_pr__nfet_03v3_nvt} full_metal 1 viasrc 100 viadrn 100 viagate 70 viagb 0 viagr 0 viagl 0 viagt 0

# cell sky130_fd_pr__nfet_01v8_46AAJJ: kit device sky130_fd_pr__nfet_01v8, w 2 l 1 m 1 nf 1 diffcov 100 polycov 100 guard 0 glc 1 grc 1 gtc 1 gbc 1 tbcov 100 rlcov 100 topc 1 botc 1 poverlap 0 doverlap 1 lmin 0.15 wmin 0.42 compatible {sky130_fd_pr__nfet_01v8 sky130_fd_pr__nfet_01v8_lvt sky130_fd_bs_flash__special_sonosfet_star sky130_fd_pr__nfet_g5v0d10v5 sky130_fd_pr__nfet_05v0_nvt sky130_fd_pr__nfet_03v3_nvt} full_metal 1 viasrc 100 viadrn 100 viagate 70 viagb 0 viagr 0 viagl 0 viagt 0

# cell sky130_fd_pr__nfet_01v8_TC9PLT: kit device sky130_fd_pr__nfet_01v8, w 2 l 0.150 m 1 nf 1 diffcov 100 polycov 100 guard 0 glc 1 grc 1 gtc 1 gbc 1 tbcov 100 rlcov 100 topc 0 botc 0 poverlap 0 doverlap 1 lmin 0.15 wmin 0.42 compatible {sky130_fd_pr__nfet_01v8 sky130_fd_pr__nfet_01v8_lvt sky130_fd_bs_flash__special_sonosfet_star sky130_fd_pr__nfet_g5v0d10v5 sky130_fd_pr__nfet_05v0_nvt sky130_fd_pr__nfet_03v3_nvt} full_metal 1 viasrc 100 viadrn 100 viagate 100 viagb 0 viagr 0 viagl 0 viagt 0
